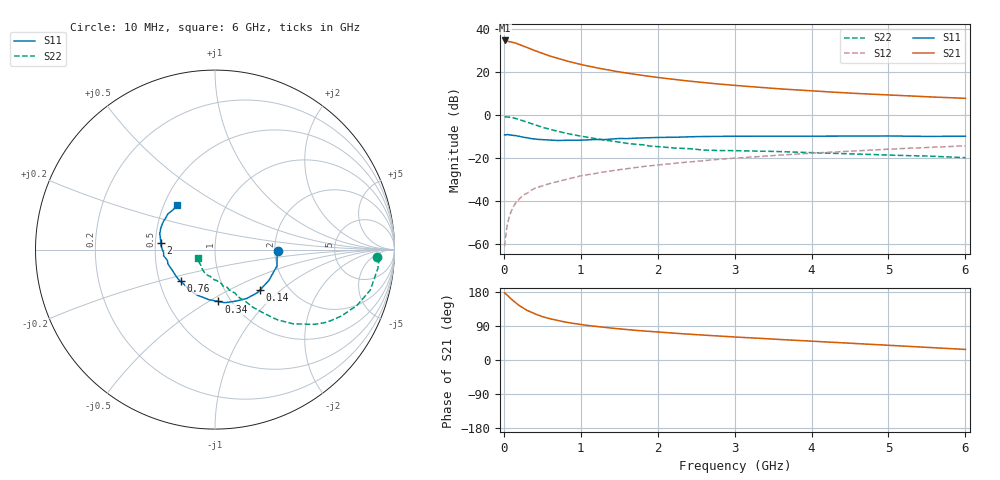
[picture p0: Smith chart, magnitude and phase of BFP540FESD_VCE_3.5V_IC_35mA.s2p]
! Infineon Technologies  Discrete & RF Semiconductors
! BFP540FESD
! VCE =  3.5 V,  IC =  35 mA
! Common Emitter S-Parameters:  Nov 2015
# GHz  S  MA  R  50
!  f  S11  S21  S12  S22
! GHz  MAG  ANG  MAG  ANG  MAG  ANG  MAG  ANG
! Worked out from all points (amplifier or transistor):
!   210 points, 10 MHz to 6 GHz, reference 50 ohm
!   highest |S21| = 34.8 dB at 10 MHz (marker M1)
!   |S21| within 3 dB of that: start of sweep to 282.8 MHz
!   unconditionally stable (mu >= 1): start of sweep to 18.58 MHz; 1.483 GHz to end of sweep
!   at 185 MHz: K = 0.43, MSG = 36.4 dB, |S12| = -39.6 dB
!   at 1.52 GHz: K = 1.00, MAG = 22.2 dB, |S12| = -25.2 dB
!   at 6 GHz: K = 1.16, MAG = 8.7 dB, |S12| = -14.2 dB
!   S11 on the Smith chart (normalised r, x): 10 MHz: 2.08, -0.03; 140 MHz: 1.45, -0.74; 340 MHz: 0.88, -0.55; 760 MHz: 0.64, -0.24; 2 GHz: 0.53, +0.04; 6 GHz: 0.58, +0.32
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0.01  0.3499 -1.2  54.99 176.8  0.0009 84.2  0.902 -2.7
0.02  0.3485 -7.2  52.88 175.5  0.0014 95.9  0.9184 -1.6
0.05  0.3572 -14.7  52.71 169.8  0.0031 78.1  0.9135 -6.6
0.1  0.3461 -29.6  50.59 160.2  0.0061 76.7  0.8939 -14.7
0.14  0.337 -42.0  48.41 153.5  0.0083 77.0  0.8575 -20.1
0.2  0.3248 -56.8  44.46 143.7  0.0112 72.7  0.7965 -27.6
0.22  0.3171 -61.3  43.05 141.2  0.0122 72.7  0.7755 -29.6
0.3  0.3006 -79.7  37.88 131.1  0.0153 72.8  0.6935 -36.9
0.34  0.2897 -86.3  35.46 127.7  0.0171 71.0  0.6561 -39.3
0.4  0.2811 -96.9  32.1 121.7  0.0199 68.9  0.6025 -43.4
0.5  0.2723 -111.4  27.57 114.4  0.0227 68.4  0.5262 -48.2
0.6  0.2664 -122.8  23.83 108.7  0.026 69.0  0.4677 -51.3
0.76  0.2603 -137.5  19.6 101.9  0.0305 68.1  0.3991 -55.6
1.02  0.2642 -154.3  14.93 93.2  0.0395 68.0  0.3218 -60.6
1.2  0.2745 -163.5  12.74 88.5  0.0445 67.2  0.2846 -64.4
1.5  0.2881 -173.1  10.2 82.2  0.0542 66.4  0.2373 -70.6
2  0.3054 173.1  7.58 73.7  0.0695 63.7  0.187 -82.6
2.02  0.3055 172.8  7.507 73.4  0.0701 63.6  0.1856 -82.9
3.1  0.3252 157.5  4.793 59.7  0.1031 57.4  0.1487 -105.9
4.1  0.327 149.9  3.6 48.6  0.134 51.3  0.1333 -120.0
5.1  0.3278 141.8  2.904 37.7  0.1658 43.3  0.1169 -133.7
6  0.3253 130.7  2.48 27.9  0.1939 35.9  0.1033 -153.4
